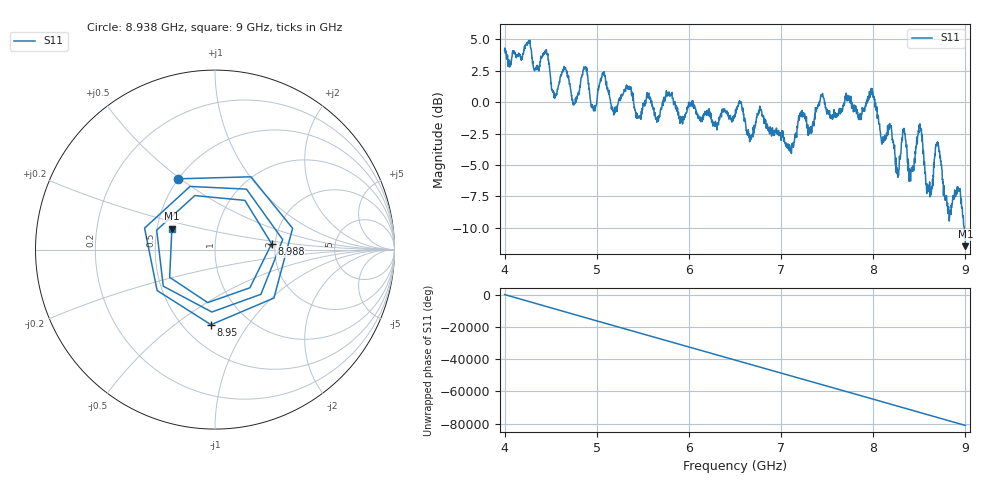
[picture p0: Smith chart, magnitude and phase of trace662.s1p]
! Created with skrf 1.8.0 (http://scikit-rf.org).
# Hz S RI R 50.0
!freq ReS11 ImS11
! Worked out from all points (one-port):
!   1601 points, 4 GHz to 9 GHz, reference 50 ohm
!   lowest |S11| = -11.5 dB at 9 GHz (marker M1), VSWR 1.73, Z = 29.9 + j7.49 ohm
!   |S11| at or under -10 dB: 8.988073 GHz to end of sweep
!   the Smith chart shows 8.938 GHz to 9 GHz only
!   S11 on the Smith chart (normalised r, x): 8.938 GHz: 0.50, +0.49; 8.95 GHz: 0.68, -0.69; 8.988 GHz: 1.91, +0.14; 9 GHz: 0.60, +0.15
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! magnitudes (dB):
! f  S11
! 4 GHz  4.1
! 4.444 GHz  3.9
! 4.544 GHz  0.6
! 4.625 GHz  2.4
! 4.753 GHz  0.0
! 4.869 GHz  2.7
! 4.959 GHz  -0.5
! 5.066 GHz  2.3
! 5.181 GHz  -0.7
! 5.25 GHz  0.2
! 5.875 GHz  -0.5
! 6.5 GHz  -1.2
! 7.125 GHz  -3.4
! 7.444 GHz  0.4
! 7.75 GHz  -0.1
! 7.984 GHz  0.6
! 8.259 GHz  -5.7
! 8.331 GHz  -2.3
! 8.375 GHz  -4.5
! 8.416 GHz  -5.2
! 8.506 GHz  -1.7
! 8.603 GHz  -7.1
! 8.694 GHz  -3.4
! 8.825 GHz  -9.5
! 8.938 GHz  -7.0
! 8.95 GHz  -7.6
! 8.988 GHz  -10.0
! 9 GHz  -11.5
